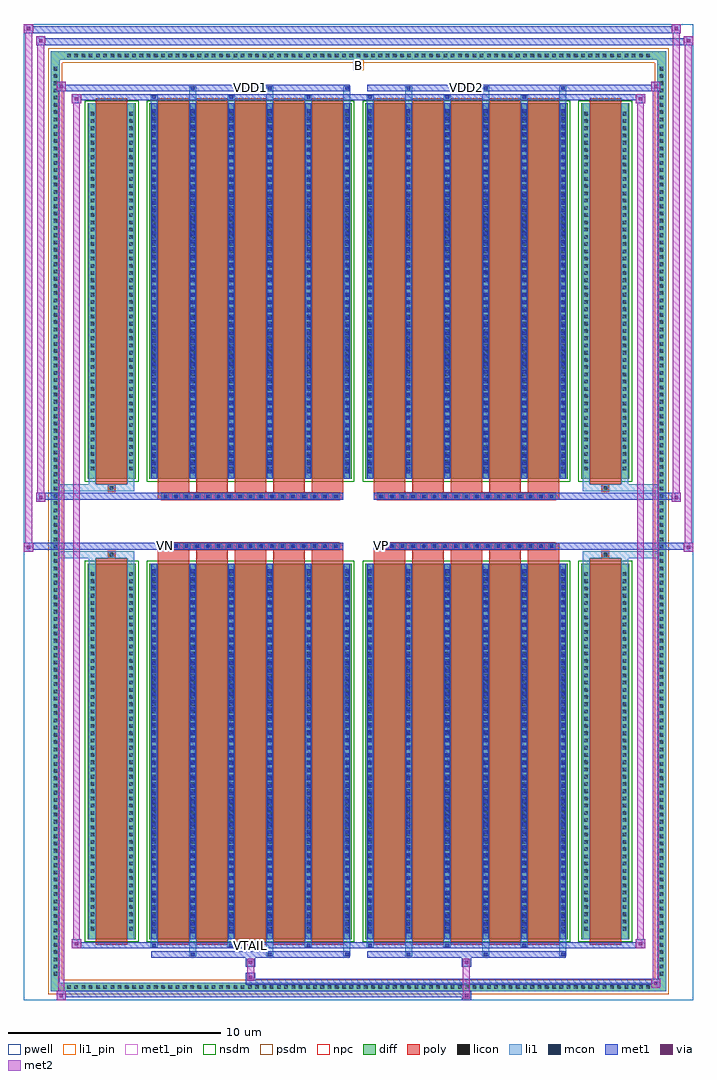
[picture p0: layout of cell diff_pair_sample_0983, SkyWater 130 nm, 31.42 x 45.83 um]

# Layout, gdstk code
import gdstk
lib = gdstk.Library(unit=1e-6, precision=5e-09)
def R(c, l, rs):  # rectangles x0, y0, x1, y1
    for r in rs: c.add(gdstk.rectangle(r[:2], r[2:], *l))
def A(c, l, x, y, w, h, nx, ny, dx, dy):  # array of equal rectangles
    R(c, l, [(x+i*dx, y+j*dy, x+i*dx+w, y+j*dy+h) for i in range(nx) for j in range(ny)])
def P(c, l, *ps):  # polygons
    for p in ps: c.add(gdstk.Polygon(p, *l))
pwell = (64, 44)
diff = (65, 20)
poly = (66, 20)
licon = (66, 44)
li1_pin = (67, 16)
li1 = (67, 20)
mcon = (67, 44)
met1_pin = (68, 16)
met1 = (68, 20)
via = (68, 44)
met2 = (69, 20)
nsdm = (93, 44)
psdm = (94, 20)
npc = (95, 20)

diff_pair_sample_0983 = lib.new_cell('diff_pair_sample_0983')
R(diff_pair_sample_0983, pwell, [(-15.71,-22.48,15.71,23.35), (-13.03,-20.67,-0.01,-0.805), (0.01,-20.67,13.03,-0.805), (-13.03,0.805,-0.01,20.67), (0.01,0.805,13.03,20.67)])
A(diff_pair_sample_0983, diff, -13.805, -22.08, 0.41, 0.41, 81, 2, 0.34, 43.75)
A(diff_pair_sample_0983, diff, -14.44, -21.455, 0.41, 0.41, 1, 126, 0, 0.34)
A(diff_pair_sample_0983, diff, 14.03, -21.455, 0.41, 0.41, 1, 126, 0, 0.34)
R(diff_pair_sample_0983, diff, [(-13.805,-22.08,13.805,-21.67), (-14.44,-21.455,-14.03,21.455), (14.03,-21.455,14.44,21.455), (-12.72,-19.625,-10.46,-1.985), (-9.82,-19.625,-0.32,-1.985), (0.32,-19.625,9.82,-1.985), (10.46,-19.625,12.72,-1.985), (-12.72,1.985,-10.46,19.625), (-9.82,1.985,-0.32,19.625), (0.32,1.985,9.82,19.625), (10.46,1.985,12.72,19.625), (-13.805,21.67,13.805,22.08)])
P(diff_pair_sample_0983, diff, [(14.44,22.08),(-14.44,22.08),(-14.44,-21.67),(-14.03,-21.67),(-14.03,21.67),(14.03,21.67),(14.03,-21.67),(-14.03,-21.67),(-14.44,-21.67),(-14.44,-22.08),(14.44,-22.08)])
A(diff_pair_sample_0983, poly, -9.43, -19.875, 1.48, 18.14, 5, 2, 1.81, 21.61)
A(diff_pair_sample_0983, poly, 0.71, -19.875, 1.48, 18.14, 5, 2, 1.81, 21.61)
A(diff_pair_sample_0983, poly, -9.43, -1.735, 1.48, 0.4, 5, 2, 1.81, 3.07)
A(diff_pair_sample_0983, poly, 0.71, -1.735, 1.48, 0.4, 5, 2, 1.81, 3.07)
A(diff_pair_sample_0983, poly, -9.235, -1.335, 0.33, 0.33, 17, 2, 0.5, 2.34)
A(diff_pair_sample_0983, poly, 0.905, -1.335, 0.33, 0.33, 17, 2, 0.5, 2.34)
R(diff_pair_sample_0983, poly, [(-12.33,-19.875,-10.85,-1.735), (10.85,-19.875,12.33,-1.735), (-11.755,-1.735,-11.425,-1.405), (-11.755,-1.735,-11.425,-1.405), (11.425,-1.735,11.755,-1.405), (11.425,-1.735,11.755,-1.405), (-9.43,-1.335,-0.71,-1.005), (0.71,-1.335,9.43,-1.005), (-9.43,1.005,-0.71,1.335), (0.71,1.005,9.43,1.335), (-11.755,1.405,-11.425,1.735), (-11.755,1.405,-11.425,1.735), (11.425,1.405,11.755,1.735), (11.425,1.405,11.755,1.735), (-12.33,1.735,-10.85,19.875), (10.85,1.735,12.33,19.875)])
A(diff_pair_sample_0983, licon, -13.685, -21.96, 0.17, 0.17, 81, 2, 0.34, 43.75)
A(diff_pair_sample_0983, licon, -14.32, -21.335, 0.17, 0.17, 1, 126, 0, 0.34)
A(diff_pair_sample_0983, licon, 14.15, -21.335, 0.17, 0.17, 1, 126, 0, 0.34)
A(diff_pair_sample_0983, licon, -12.58, -19.22, 0.17, 0.17, 1, 50, 0, 0.34)
A(diff_pair_sample_0983, licon, -10.77, -19.22, 0.17, 0.17, 1, 50, 0, 0.34)
A(diff_pair_sample_0983, licon, -9.68, -19.22, 0.17, 0.17, 6, 50, 1.81, 0.34)
A(diff_pair_sample_0983, licon, 0.46, -19.22, 0.17, 0.17, 6, 50, 1.81, 0.34)
A(diff_pair_sample_0983, licon, 10.6, -19.22, 0.17, 0.17, 1, 50, 0, 0.34)
A(diff_pair_sample_0983, licon, 12.41, -19.22, 0.17, 0.17, 1, 50, 0, 0.34)
A(diff_pair_sample_0983, licon, -9.155, -1.255, 0.17, 0.17, 17, 2, 0.5, 2.34)
A(diff_pair_sample_0983, licon, 0.985, -1.255, 0.17, 0.17, 17, 2, 0.5, 2.34)
A(diff_pair_sample_0983, licon, -12.58, 2.39, 0.17, 0.17, 1, 50, 0, 0.34)
A(diff_pair_sample_0983, licon, -10.77, 2.39, 0.17, 0.17, 1, 50, 0, 0.34)
A(diff_pair_sample_0983, licon, -9.68, 2.39, 0.17, 0.17, 6, 50, 1.81, 0.34)
A(diff_pair_sample_0983, licon, 0.46, 2.39, 0.17, 0.17, 6, 50, 1.81, 0.34)
A(diff_pair_sample_0983, licon, 10.6, 2.39, 0.17, 0.17, 1, 50, 0, 0.34)
A(diff_pair_sample_0983, licon, 12.41, 2.39, 0.17, 0.17, 1, 50, 0, 0.34)
R(diff_pair_sample_0983, licon, [(-11.675,-1.655,-11.505,-1.485), (11.505,-1.655,11.675,-1.485), (-11.675,1.485,-11.505,1.655), (11.505,1.485,11.675,1.655)])
R(diff_pair_sample_0983, li1_pin, [(-0.25,21.17,0.25,21.67)])
A(diff_pair_sample_0983, li1, -13.765, -22.04, 0.33, 0.33, 81, 2, 0.34, 43.75)
A(diff_pair_sample_0983, li1, -14.4, -21.415, 0.33, 0.33, 1, 126, 0, 0.34)
A(diff_pair_sample_0983, li1, 14.07, -21.415, 0.33, 0.33, 1, 126, 0, 0.34)
A(diff_pair_sample_0983, li1, -7.95, -20.43, 0.33, 0.805, 3, 2, 3.62, 40.055)
A(diff_pair_sample_0983, li1, -7.87, -20.43, 0.17, 0.17, 3, 2, 3.62, 40.69)
A(diff_pair_sample_0983, li1, 2.19, -20.43, 0.33, 0.805, 3, 2, 3.62, 40.055)
A(diff_pair_sample_0983, li1, 2.27, -20.43, 0.17, 0.17, 3, 2, 3.62, 40.69)
A(diff_pair_sample_0983, li1, -9.76, -20, 0.33, 0.375, 3, 2, 3.62, 39.625)
A(diff_pair_sample_0983, li1, -9.68, -20, 0.17, 0.17, 3, 2, 3.62, 39.83)
A(diff_pair_sample_0983, li1, 0.38, -20, 0.33, 0.375, 3, 2, 3.62, 39.625)
A(diff_pair_sample_0983, li1, 0.46, -20, 0.17, 0.17, 3, 2, 3.62, 39.83)
A(diff_pair_sample_0983, li1, -9.76, -19.625, 0.33, 17.64, 6, 2, 1.81, 21.61)
A(diff_pair_sample_0983, li1, 0.38, -19.625, 0.33, 17.64, 6, 2, 1.81, 21.61)
A(diff_pair_sample_0983, li1, -9.68, -19.35, 0.17, 0.17, 6, 48, 1.81, 0.36)
A(diff_pair_sample_0983, li1, -9.68, -19.35, 0.17, 17.09, 6, 2, 1.81, 21.61)
A(diff_pair_sample_0983, li1, 0.46, -19.35, 0.17, 0.17, 6, 48, 1.81, 0.36)
A(diff_pair_sample_0983, li1, 0.46, -19.35, 0.17, 17.09, 6, 2, 1.81, 21.61)
A(diff_pair_sample_0983, li1, -12.66, -19.3, 0.33, 0.33, 1, 50, 0, 0.34)
A(diff_pair_sample_0983, li1, -10.85, -19.3, 0.33, 0.33, 1, 50, 0, 0.34)
A(diff_pair_sample_0983, li1, -9.76, -19.3, 0.33, 0.33, 6, 50, 1.81, 0.34)
A(diff_pair_sample_0983, li1, 0.38, -19.3, 0.33, 0.33, 6, 50, 1.81, 0.34)
A(diff_pair_sample_0983, li1, 10.52, -19.3, 0.33, 0.33, 1, 50, 0, 0.34)
A(diff_pair_sample_0983, li1, 12.33, -19.3, 0.33, 0.33, 1, 50, 0, 0.34)
A(diff_pair_sample_0983, li1, -9.235, -1.335, 0.33, 0.33, 17, 2, 0.5, 2.34)
A(diff_pair_sample_0983, li1, 0.905, -1.335, 0.33, 0.33, 17, 2, 0.5, 2.34)
A(diff_pair_sample_0983, li1, -9.68, 2.26, 0.17, 0.17, 6, 48, 1.81, 0.36)
A(diff_pair_sample_0983, li1, 0.46, 2.26, 0.17, 0.17, 6, 48, 1.81, 0.36)
A(diff_pair_sample_0983, li1, -12.66, 2.31, 0.33, 0.33, 1, 50, 0, 0.34)
A(diff_pair_sample_0983, li1, -10.85, 2.31, 0.33, 0.33, 1, 50, 0, 0.34)
A(diff_pair_sample_0983, li1, -9.76, 2.31, 0.33, 0.33, 6, 50, 1.81, 0.34)
A(diff_pair_sample_0983, li1, 0.38, 2.31, 0.33, 0.33, 6, 50, 1.81, 0.34)
A(diff_pair_sample_0983, li1, 10.52, 2.31, 0.33, 0.33, 1, 50, 0, 0.34)
A(diff_pair_sample_0983, li1, 12.33, 2.31, 0.33, 0.33, 1, 50, 0, 0.34)
R(diff_pair_sample_0983, li1, [(-14.44,-22.08,-14.03,-21.67), (-14.44,-22.08,-14.03,-21.67), (-14.03,-22.08,14.03,-21.67), (14.03,-22.08,14.44,-21.67), (14.03,-22.08,14.44,-21.67), (-14.44,-21.67,-14.03,21.67), (14.03,-21.67,14.44,21.67), (-12.66,-19.625,-12.33,-1.985), (-10.85,-19.625,-10.52,-1.985), (10.52,-19.625,10.85,-1.985), (12.33,-19.625,12.66,-1.985), (-12.66,-1.985,-12.33,-1.405), (-10.85,-1.985,-10.52,-1.405), (10.52,-1.985,10.85,-1.405), (12.33,-1.985,12.66,-1.405), (-14.44,-1.735,-11.755,-1.405), (-12.66,-1.735,-11.755,-1.405), (-11.755,-1.735,-11.425,-1.405), (-11.425,-1.735,-10.52,-1.405), (10.52,-1.735,11.425,-1.405), (11.425,-1.735,11.755,-1.405), (11.425,-1.735,14.44,-1.405), (11.755,-1.735,12.66,-1.405), (-14.44,1.405,-11.755,1.735), (-12.66,1.405,-11.755,1.735), (-12.66,1.405,-12.33,1.985), (-11.755,1.405,-11.425,1.735), (-11.425,1.405,-10.52,1.735), (-10.85,1.405,-10.52,1.985), (10.52,1.405,11.425,1.735), (10.52,1.405,10.85,1.985), (11.425,1.405,11.755,1.735), (11.425,1.405,14.44,1.735), (11.755,1.405,12.66,1.735), (12.33,1.405,12.66,1.985), (-12.66,1.985,-12.33,19.625), (-10.85,1.985,-10.52,19.625), (10.52,1.985,10.85,19.625), (12.33,1.985,12.66,19.625), (-14.44,21.67,-14.03,22.08), (-14.44,21.67,-14.03,22.08), (-14.03,21.67,14.03,22.08), (14.03,21.67,14.44,22.08), (14.03,21.67,14.44,22.08)])
A(diff_pair_sample_0983, mcon, -7.87, -20.43, 0.17, 0.17, 3, 2, 3.62, 40.69)
A(diff_pair_sample_0983, mcon, 2.27, -20.43, 0.17, 0.17, 3, 2, 3.62, 40.69)
A(diff_pair_sample_0983, mcon, -9.68, -20, 0.17, 0.17, 3, 2, 3.62, 39.83)
A(diff_pair_sample_0983, mcon, 0.46, -20, 0.17, 0.17, 3, 2, 3.62, 39.83)
A(diff_pair_sample_0983, mcon, -9.68, -19.35, 0.17, 0.17, 6, 48, 1.81, 0.36)
A(diff_pair_sample_0983, mcon, 0.46, -19.35, 0.17, 0.17, 6, 48, 1.81, 0.36)
A(diff_pair_sample_0983, mcon, -9.155, -1.255, 0.17, 0.17, 17, 2, 0.5, 2.34)
A(diff_pair_sample_0983, mcon, 0.985, -1.255, 0.17, 0.17, 17, 2, 0.5, 2.34)
A(diff_pair_sample_0983, mcon, -9.68, 2.26, 0.17, 0.17, 6, 48, 1.81, 0.36)
A(diff_pair_sample_0983, mcon, 0.46, 2.26, 0.17, 0.17, 6, 48, 1.81, 0.36)
R(diff_pair_sample_0983, met1_pin, [(-5.205,-20.04,-4.935,-19.77), (-9.205,-1.295,-8.935,-1.025), (0.935,-1.295,1.205,-1.025), (-5.205,20.22,-4.935,20.49), (4.935,20.22,5.205,20.49)])
A(diff_pair_sample_0983, met1, -7.93, -20.49, 0.29, 0.29, 3, 2, 3.62, 40.69)
A(diff_pair_sample_0983, met1, 2.21, -20.49, 0.29, 0.29, 3, 2, 3.62, 40.69)
A(diff_pair_sample_0983, met1, -9.74, -20.06, 0.29, 0.29, 3, 2, 3.62, 39.83)
A(diff_pair_sample_0983, met1, 0.4, -20.06, 0.29, 0.29, 3, 2, 3.62, 39.83)
A(diff_pair_sample_0983, met1, -9.74, -19.625, 0.29, 17.64, 6, 2, 1.81, 21.61)
A(diff_pair_sample_0983, met1, 0.4, -19.625, 0.29, 17.64, 6, 2, 1.81, 21.61)
A(diff_pair_sample_0983, met1, -9.74, -19.41, 0.29, 0.29, 6, 48, 1.81, 0.36)
A(diff_pair_sample_0983, met1, 0.4, -19.41, 0.29, 0.29, 6, 48, 1.81, 0.36)
A(diff_pair_sample_0983, met1, -9.215, -1.315, 0.29, 0.29, 17, 2, 0.5, 2.34)
A(diff_pair_sample_0983, met1, 0.925, -1.315, 0.29, 0.29, 17, 2, 0.5, 2.34)
A(diff_pair_sample_0983, met1, -9.74, 2.2, 0.29, 0.29, 6, 48, 1.81, 0.36)
A(diff_pair_sample_0983, met1, 0.4, 2.2, 0.29, 0.29, 6, 48, 1.81, 0.36)
R(diff_pair_sample_0983, met1, [(-14.17,-22.48,-13.74,-22.05), (4.855,-22.48,5.285,-22.05), (-14.17,-22.34,5.285,-22.05), (13.74,-21.91,14.17,-21.48), (-5.285,-21.77,14.17,-21.48), (-5.285,-21.63,-4.855,-21.2), (-5.285,-20.92,-4.855,-20.49), (4.855,-20.92,5.285,-20.49), (-9.74,-20.49,-0.4,-20.2), (0.4,-20.49,9.74,-20.2), (-13.46,-20.06,-13.03,-19.63), (-13.46,-20.06,-9.74,-19.77), (-9.74,-20.06,-0.4,-19.77), (-0.4,-20.06,0.4,-19.77), (0.4,-20.06,9.74,-19.77), (9.74,-20.06,13.46,-19.77), (13.03,-20.06,13.46,-19.63), (-15.71,-1.435,-15.28,-1.005), (15.28,-1.435,15.71,-1.005), (-15.71,-1.335,-0.71,-1.005), (-9.43,-1.335,-0.71,-1.005), (0.71,-1.335,9.43,-1.005), (0.71,-1.335,15.71,-1.005), (-15.14,0.905,-14.71,1.335), (14.71,0.905,15.14,1.335), (-15.14,1.005,-9.43,1.335), (-9.43,1.005,-0.71,1.335), (0.71,1.005,9.43,1.335), (9.43,1.005,15.14,1.335), (-13.46,19.63,-13.03,20.06), (13.03,19.63,13.46,20.06), (-13.46,19.77,-9.74,20.06), (-9.74,19.77,-0.4,20.06), (-0.4,19.77,0.4,20.06), (0.4,19.77,9.74,20.06), (9.74,19.77,13.46,20.06), (-14.17,20.2,-13.74,20.63), (-14.17,20.2,-9.74,20.49), (-9.74,20.2,-0.4,20.49), (0.4,20.2,9.74,20.49), (9.74,20.2,14.17,20.49), (13.74,20.2,14.17,20.63), (-15.14,22.35,-14.71,22.78), (-15.14,22.35,-13.03,22.68), (-13.03,22.35,13.03,22.68), (13.03,22.35,15.71,22.68), (15.28,22.35,15.71,22.78), (-15.71,22.92,-15.28,23.35), (-15.71,22.92,-13.03,23.25), (-13.03,22.92,13.03,23.25), (13.03,22.92,15.14,23.25), (14.71,22.92,15.14,23.35)])
R(diff_pair_sample_0983, via, [(-14.03,-22.34,-13.88,-22.19), (4.995,-22.34,5.145,-22.19), (13.88,-21.77,14.03,-21.62), (-5.145,-21.49,-4.995,-21.34), (-5.145,-20.78,-4.995,-20.63), (4.995,-20.78,5.145,-20.63), (-13.32,-19.92,-13.17,-19.77), (13.17,-19.92,13.32,-19.77), (-15.57,-1.295,-15.42,-1.145), (15.42,-1.295,15.57,-1.145), (-15,1.045,-14.85,1.195), (14.85,1.045,15,1.195), (-13.32,19.77,-13.17,19.92), (13.17,19.77,13.32,19.92), (-14.03,20.34,-13.88,20.49), (13.88,20.34,14.03,20.49), (-15,22.49,-14.85,22.64), (15.42,22.49,15.57,22.64), (-15.57,23.06,-15.42,23.21), (14.85,23.06,15,23.21)])
R(diff_pair_sample_0983, met2, [(-14.17,-22.48,-13.74,-22.05), (-14.1,-22.48,-13.81,20.63), (-13.81,-22.48,-13.74,-22.05), (-14.12,-22.43,-13.79,-22.1), (4.905,-22.43,5.235,-22.1), (4.905,-22.1,5.235,-20.87), (13.74,-21.91,14.17,-21.48), (13.81,-21.91,14.1,20.63), (14.1,-21.91,14.17,-21.48), (13.79,-21.86,14.12,-21.53), (-5.235,-21.58,-4.905,-21.25), (-5.235,-21.25,-4.905,-20.87), (-5.235,-20.87,-4.905,-20.54), (4.905,-20.87,5.235,-20.54), (-13.46,-20.06,-13.03,-19.63), (-13.39,-20.06,-13.1,20.06), (-13.1,-20.06,-13.03,-19.63), (13.03,-20.06,13.46,-19.63), (13.1,-20.06,13.39,20.06), (13.39,-20.06,13.46,-19.63), (-13.41,-20.01,-13.08,-19.68), (13.08,-20.01,13.41,-19.68), (-15.71,-1.435,-15.28,-1.005), (-15.66,-1.435,-15.33,23.35), (-15.33,-1.435,-15.28,-1.005), (15.28,-1.435,15.71,-1.005), (15.33,-1.435,15.66,22.78), (15.66,-1.435,15.71,-1.005), (-15.66,-1.385,-15.33,-1.055), (15.33,-1.385,15.66,-1.055), (-15.14,0.905,-14.71,1.335), (-15.09,0.905,-14.76,22.78), (-14.76,0.905,-14.71,1.335), (14.71,0.905,15.14,1.335), (14.76,0.905,15.09,23.35), (15.09,0.905,15.14,1.335), (-15.09,0.955,-14.76,1.285), (14.76,0.955,15.09,1.285), (-13.46,19.63,-13.03,20.06), (-13.1,19.63,-13.03,20.06), (13.03,19.63,13.46,20.06), (13.39,19.63,13.46,20.06), (-13.41,19.68,-13.08,20.01), (13.08,19.68,13.41,20.01), (-14.17,20.2,-13.74,20.63), (-13.81,20.2,-13.74,20.63), (13.74,20.2,14.17,20.63), (14.1,20.2,14.17,20.63), (-14.12,20.25,-13.79,20.58), (13.79,20.25,14.12,20.58), (-15.14,22.35,-14.71,22.78), (-14.76,22.35,-14.71,22.78), (15.28,22.35,15.71,22.78), (15.66,22.35,15.71,22.78), (-15.09,22.4,-14.76,22.73), (15.33,22.4,15.66,22.73), (-15.71,22.92,-15.28,23.35), (-15.33,22.92,-15.28,23.35), (14.71,22.92,15.14,23.35), (15.09,22.92,15.14,23.35), (-15.66,22.97,-15.33,23.3), (14.76,22.97,15.09,23.3)])
R(diff_pair_sample_0983, nsdm, [(-12.85,-19.755,-10.33,-1.855), (-9.95,-19.755,-0.19,-1.855), (0.19,-19.755,9.95,-1.855), (10.33,-19.755,12.85,-1.855), (-12.85,1.855,-10.33,19.755), (-9.95,1.855,-0.19,19.755), (0.19,1.855,9.95,19.755), (10.33,1.855,12.85,19.755)])
P(diff_pair_sample_0983, psdm, [(14.57,22.21),(-14.57,22.21),(-14.57,-21.54),(-13.9,-21.54),(-13.9,21.54),(13.9,21.54),(13.9,-21.54),(-13.9,-21.54),(-14.57,-21.54),(-14.57,-22.21),(14.57,-22.21)])
A(diff_pair_sample_0983, npc, -9.255, -1.355, 0.37, 0.37, 17, 2, 0.5, 2.34)
A(diff_pair_sample_0983, npc, 0.885, -1.355, 0.37, 0.37, 17, 2, 0.5, 2.34)
R(diff_pair_sample_0983, npc, [(-11.775,-1.755,-11.405,-1.385), (11.405,-1.755,11.775,-1.385), (-9.255,-1.355,-8.385,-0.985), (-9.255,-1.355,-8.385,-0.985), (-8.755,-1.355,-7.885,-0.985), (-8.755,-1.355,-7.885,-0.985), (-8.255,-1.355,-7.385,-0.985), (-8.255,-1.355,-7.385,-0.985), (-7.755,-1.355,-6.885,-0.985), (-7.755,-1.355,-6.885,-0.985), (-7.255,-1.355,-6.385,-0.985), (-7.255,-1.355,-6.385,-0.985), (-6.755,-1.355,-5.885,-0.985), (-6.755,-1.355,-5.885,-0.985), (-6.255,-1.355,-5.385,-0.985), (-6.255,-1.355,-5.385,-0.985), (-5.755,-1.355,-4.885,-0.985), (-5.755,-1.355,-4.885,-0.985), (-5.255,-1.355,-4.385,-0.985), (-5.255,-1.355,-4.385,-0.985), (-4.755,-1.355,-3.885,-0.985), (-4.755,-1.355,-3.885,-0.985), (-4.255,-1.355,-3.385,-0.985), (-4.255,-1.355,-3.385,-0.985), (-3.755,-1.355,-2.885,-0.985), (-3.755,-1.355,-2.885,-0.985), (-3.255,-1.355,-2.385,-0.985), (-3.255,-1.355,-2.385,-0.985), (-2.755,-1.355,-1.885,-0.985), (-2.755,-1.355,-1.885,-0.985), (-2.255,-1.355,-1.385,-0.985), (-2.255,-1.355,-1.385,-0.985), (-1.755,-1.355,-0.885,-0.985), (-1.755,-1.355,-0.885,-0.985), (0.885,-1.355,1.755,-0.985), (0.885,-1.355,1.755,-0.985), (1.385,-1.355,2.255,-0.985), (1.385,-1.355,2.255,-0.985), (1.885,-1.355,2.755,-0.985), (1.885,-1.355,2.755,-0.985), (2.385,-1.355,3.255,-0.985), (2.385,-1.355,3.255,-0.985), (2.885,-1.355,3.755,-0.985), (2.885,-1.355,3.755,-0.985), (3.385,-1.355,4.255,-0.985), (3.385,-1.355,4.255,-0.985), (3.885,-1.355,4.755,-0.985), (3.885,-1.355,4.755,-0.985), (4.385,-1.355,5.255,-0.985), (4.385,-1.355,5.255,-0.985), (4.885,-1.355,5.755,-0.985), (4.885,-1.355,5.755,-0.985), (5.385,-1.355,6.255,-0.985), (5.385,-1.355,6.255,-0.985), (5.885,-1.355,6.755,-0.985), (5.885,-1.355,6.755,-0.985), (6.385,-1.355,7.255,-0.985), (6.385,-1.355,7.255,-0.985), (6.885,-1.355,7.755,-0.985), (6.885,-1.355,7.755,-0.985), (7.385,-1.355,8.255,-0.985), (7.385,-1.355,8.255,-0.985), (7.885,-1.355,8.755,-0.985), (7.885,-1.355,8.755,-0.985), (8.385,-1.355,9.255,-0.985), (8.385,-1.355,9.255,-0.985), (-9.255,0.985,-8.385,1.355), (-9.255,0.985,-8.385,1.355), (-8.755,0.985,-7.885,1.355), (-8.755,0.985,-7.885,1.355), (-8.255,0.985,-7.385,1.355), (-8.255,0.985,-7.385,1.355), (-7.755,0.985,-6.885,1.355), (-7.755,0.985,-6.885,1.355), (-7.255,0.985,-6.385,1.355), (-7.255,0.985,-6.385,1.355), (-6.755,0.985,-5.885,1.355), (-6.755,0.985,-5.885,1.355), (-6.255,0.985,-5.385,1.355), (-6.255,0.985,-5.385,1.355), (-5.755,0.985,-4.885,1.355), (-5.755,0.985,-4.885,1.355), (-5.255,0.985,-4.385,1.355), (-5.255,0.985,-4.385,1.355), (-4.755,0.985,-3.885,1.355), (-4.755,0.985,-3.885,1.355), (-4.255,0.985,-3.385,1.355), (-4.255,0.985,-3.385,1.355), (-3.755,0.985,-2.885,1.355), (-3.755,0.985,-2.885,1.355), (-3.255,0.985,-2.385,1.355), (-3.255,0.985,-2.385,1.355), (-2.755,0.985,-1.885,1.355), (-2.755,0.985,-1.885,1.355), (-2.255,0.985,-1.385,1.355), (-2.255,0.985,-1.385,1.355), (-1.755,0.985,-0.885,1.355), (-1.755,0.985,-0.885,1.355), (0.885,0.985,1.755,1.355), (0.885,0.985,1.755,1.355), (1.385,0.985,2.255,1.355), (1.385,0.985,2.255,1.355), (1.885,0.985,2.755,1.355), (1.885,0.985,2.755,1.355), (2.385,0.985,3.255,1.355), (2.385,0.985,3.255,1.355), (2.885,0.985,3.755,1.355), (2.885,0.985,3.755,1.355), (3.385,0.985,4.255,1.355), (3.385,0.985,4.255,1.355), (3.885,0.985,4.755,1.355), (3.885,0.985,4.755,1.355), (4.385,0.985,5.255,1.355), (4.385,0.985,5.255,1.355), (4.885,0.985,5.755,1.355), (4.885,0.985,5.755,1.355), (5.385,0.985,6.255,1.355), (5.385,0.985,6.255,1.355), (5.885,0.985,6.755,1.355), (5.885,0.985,6.755,1.355), (6.385,0.985,7.255,1.355), (6.385,0.985,7.255,1.355), (6.885,0.985,7.755,1.355), (6.885,0.985,7.755,1.355), (7.385,0.985,8.255,1.355), (7.385,0.985,8.255,1.355), (7.885,0.985,8.755,1.355), (7.885,0.985,8.755,1.355), (8.385,0.985,9.255,1.355), (8.385,0.985,9.255,1.355), (-11.775,1.385,-11.405,1.755), (11.405,1.385,11.775,1.755)])
diff_pair_sample_0983.add(gdstk.Label('VTAIL', (-5.07,-19.905), layer=68, texttype=5))
diff_pair_sample_0983.add(gdstk.Label('VN', (-9.07,-1.16), layer=68, texttype=5))
diff_pair_sample_0983.add(gdstk.Label('VP', (1.07,-1.16), layer=68, texttype=5))
diff_pair_sample_0983.add(gdstk.Label('B', (0,21.42), layer=67, texttype=5))
diff_pair_sample_0983.add(gdstk.Label('VDD2', (5.07,20.355), layer=68, texttype=5))
diff_pair_sample_0983.add(gdstk.Label('VDD1', (-5.07,20.355), layer=68, texttype=5))

lib.write_gds('diff_pair_sample_0983.gds')
